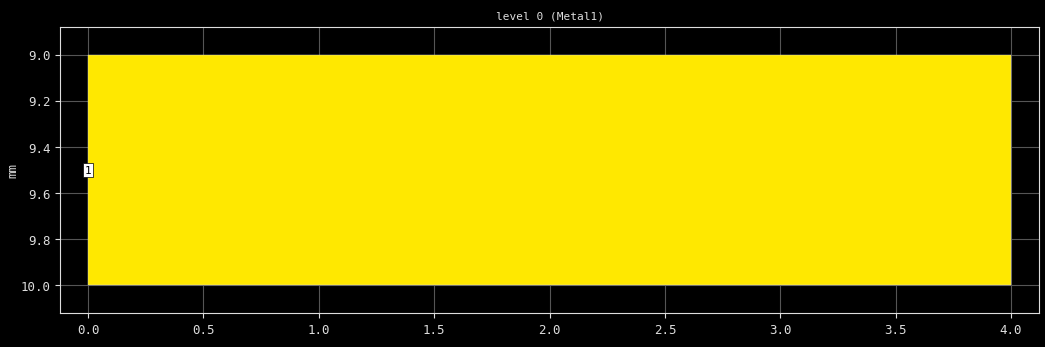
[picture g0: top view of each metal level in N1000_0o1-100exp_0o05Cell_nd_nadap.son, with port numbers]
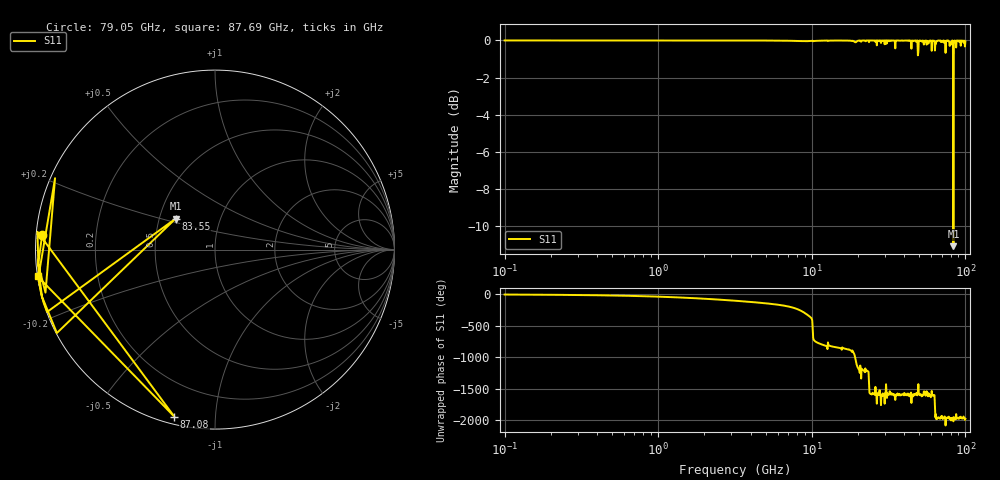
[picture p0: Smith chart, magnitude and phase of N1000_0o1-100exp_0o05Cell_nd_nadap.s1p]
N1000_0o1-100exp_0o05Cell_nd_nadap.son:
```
FTYP SONPROJ 19 ! Sonnet Project File
VER 18.56
HEADER
LIC sonnet10.72.52417
DAT 03/07/2023 06:37:38
BUILT_BY_CREATED xgeom 18.56 02/17/2023 13:10:04
BUILT_BY_SAVED sonnet 18.56
MDATE 03/07/2023 06:37:38
HDATE 03/07/2023 06:37:38
END HEADER
DIM
ANG DEG
CAP PF
CON /OH
FREQ GHZ
IND NH
LNG MM
RES OH
END DIM
CONTROL
VARSWP
OPTIONS 
SPEED 0
CACHE_ABS 2
Q_ACC N
END CONTROL
GEO
TMET "Lossless" 0 SUP 0 0 0 0
BMET "Lossless" 0 SUP 0 0 0 0
MET "Copper" 1 NOR 58000000 0.5 0.1 
BOX 1 30 15 1200 600 20 0
      5 1 1 0 0 0 0 "Air"
      1 10 1 0 0 0 0 "Substrate"
TECHLAY METAL Metal1 <UNSPECIFIED> -2 -65534 
0 0 0 N 34 1 1 100 100 0 0 0 Y
END
END
LORGN 0 6.35 U 
POR1 BOX
POLY 24 1
3
1 50 0 0 0 0 9.5 
NUM 1
0 5 0 N 24 1 1 100 100 0 0 0 Y
TLAYNAM Metal1 INH
0 9
4 9
4 10
0 10
0 9
END
END GEO
OPT
MAX 100
END OPT
VARSWP
ENABLED Y
FREQ Y AN ESWEEP 0.1 100.0 1000
END
END VARSWP
FILEOUT
TOUCH D Y $BASENAME.s1p IC 15 S MA R 50.00000
FOLDER .
END FILEOUT
```
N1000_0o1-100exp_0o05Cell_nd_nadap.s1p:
! Sonnet Data File
! From: em Version : 18.56
! From Project: N1000_0o1-100exp_0o05Cell_nd_nadap
! Data is De-embedded
! Data File Written: 03/07/2023 07:09:06
!< HDATE 03/07/2023 06:37:38
!< MDATE 03/07/2023 06:37:38
# GHZ S MA R 50.00000
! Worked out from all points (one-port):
!   1000 points, 100 MHz to 100 GHz, reference 50 ohm
!   lowest |S11| = -11.1 dB at 83.55 GHz (marker M1), VSWR 1.78, Z = 30.4 + j11.3 ohm
!   |S11| at or under -10 dB: 83.48915 GHz to 83.60189 GHz (112.7 MHz wide, 0.135 % of centre)
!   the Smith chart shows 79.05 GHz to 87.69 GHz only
!   S11 on the Smith chart (normalised r, x): 79.05 GHz: 0.02, +0.04; 83.55 GHz: 0.61, +0.23; 87.08 GHz: 0.03, -0.79; 87.69 GHz: 0.00, -0.07
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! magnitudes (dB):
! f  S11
! 100 MHz  0.0
! 1 GHz  0.0
! 10 GHz  0.0
! 42.13 GHz  0.0
! 50.78 GHz  0.0
! 67.43 GHz  0.0
! 79.05 GHz  -0.3
! 80.15 GHz  -0.2
! 80.71 GHz  -0.2
! 83.55 GHz  -11.1
! 86.48 GHz  -0.1
! 87.08 GHz  -0.4
! 87.69 GHz  0.0
! 100 GHz  -0.1
